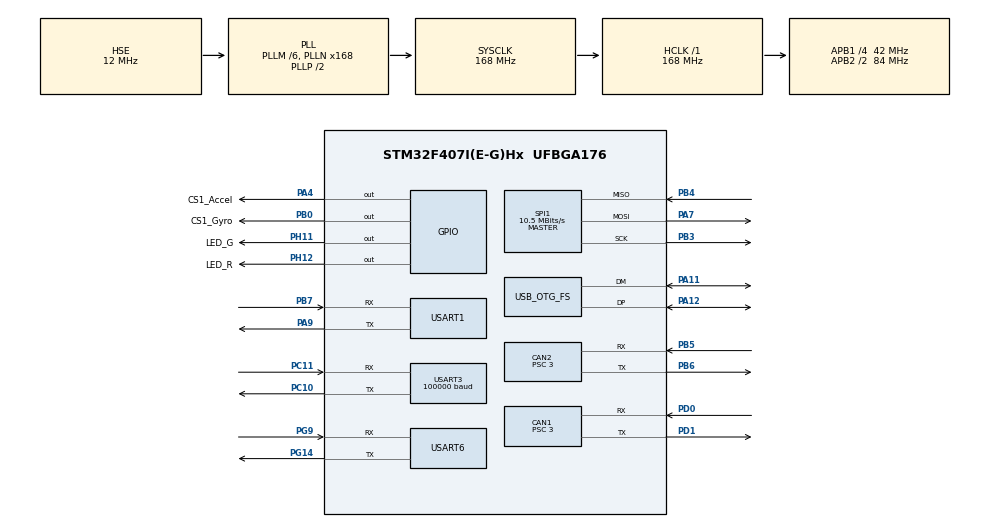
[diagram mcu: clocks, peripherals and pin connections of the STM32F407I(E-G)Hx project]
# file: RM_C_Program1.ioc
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CAN1.ABOM=ENABLE
CAN1.BS1=CAN_BS1_10TQ
CAN1.BS2=CAN_BS2_3TQ
CAN1.CalculateBaudRate=1000000
CAN1.CalculateTimeBit=1000
CAN1.CalculateTimeQuantum=71.42857142857143
CAN1.Prescaler=3
CAN2.ABOM=ENABLE
CAN2.BS1=CAN_BS1_10TQ
CAN2.BS2=CAN_BS2_3TQ
CAN2.CalculateBaudRate=1000000
CAN2.CalculateTimeBit=1000
CAN2.CalculateTimeQuantum=71.42857142857143
CAN2.Prescaler=3
Dma.Request0=USART1_RX
Dma.Request1=USART1_TX
Dma.Request2=USART6_RX
Dma.Request3=USART3_RX
Dma.USART1_RX.0.Direction=DMA_PERIPH_TO_MEMORY
Dma.USART1_RX.0.FIFOMode=DMA_FIFOMODE_DISABLE
Dma.USART1_RX.0.Instance=DMA2_Stream2
Dma.USART1_RX.0.MemDataAlignment=DMA_MDATAALIGN_BYTE
Dma.USART1_RX.0.MemInc=DMA_MINC_ENABLE
Dma.USART1_RX.0.Mode=DMA_NORMAL
Dma.USART1_RX.0.PeriphDataAlignment=DMA_PDATAALIGN_BYTE
Dma.USART1_RX.0.PeriphInc=DMA_PINC_DISABLE
Dma.USART1_RX.0.Priority=DMA_PRIORITY_HIGH
Dma.USART1_TX.1.Direction=DMA_MEMORY_TO_PERIPH
Dma.USART1_TX.1.FIFOMode=DMA_FIFOMODE_DISABLE
Dma.USART1_TX.1.Instance=DMA2_Stream7
Dma.USART1_TX.1.MemDataAlignment=DMA_MDATAALIGN_BYTE
Dma.USART1_TX.1.MemInc=DMA_MINC_ENABLE
Dma.USART1_TX.1.Mode=DMA_NORMAL
Dma.USART1_TX.1.PeriphDataAlignment=DMA_PDATAALIGN_BYTE
Dma.USART1_TX.1.PeriphInc=DMA_PINC_DISABLE
Dma.USART1_TX.1.Priority=DMA_PRIORITY_HIGH
Dma.USART3_RX.3.Direction=DMA_PERIPH_TO_MEMORY
Dma.USART3_RX.3.FIFOMode=DMA_FIFOMODE_ENABLE
Dma.USART3_RX.3.FIFOThreshold=DMA_FIFO_THRESHOLD_FULL
Dma.USART3_RX.3.Instance=DMA1_Stream1
Dma.USART3_RX.3.MemBurst=DMA_MBURST_SINGLE
Dma.USART3_RX.3.MemDataAlignment=DMA_MDATAALIGN_BYTE
Dma.USART3_RX.3.MemInc=DMA_MINC_ENABLE
Dma.USART3_RX.3.Mode=DMA_NORMAL
Dma.USART3_RX.3.PeriphBurst=DMA_PBURST_SINGLE
Dma.USART3_RX.3.PeriphDataAlignment=DMA_PDATAALIGN_BYTE
Dma.USART3_RX.3.PeriphInc=DMA_PINC_DISABLE
Dma.USART3_RX.3.Priority=DMA_PRIORITY_HIGH
Dma.USART6_RX.2.Direction=DMA_PERIPH_TO_MEMORY
Dma.USART6_RX.2.FIFOMode=DMA_FIFOMODE_DISABLE
Dma.USART6_RX.2.Instance=DMA2_Stream1
Dma.USART6_RX.2.MemDataAlignment=DMA_MDATAALIGN_BYTE
Dma.USART6_RX.2.MemInc=DMA_MINC_ENABLE
Dma.USART6_RX.2.Mode=DMA_NORMAL
Dma.USART6_RX.2.PeriphDataAlignment=DMA_PDATAALIGN_BYTE
Dma.USART6_RX.2.PeriphInc=DMA_PINC_DISABLE
Dma.USART6_RX.2.Priority=DMA_PRIORITY_LOW
FREERTOS.Tasks01=defaultTask,24,128,StartDefaultTask,Default,NULL,Dynamic,NULL,NULL;IMU_Read,24,128,Start_IMU_Read,Default,NULL,Dynamic,NULL,NULL;CAN_SendMessage,8,128,Start_CAN_SendMessage,Default,NULL,Dynamic,NULL,NULL;Remote_RecieveM,8,128,Start_Remote_RecieveMessage,Default,NULL,Dynamic,NULL,NULL;AMMO_SendMessag,8,128,Start_AMMO_SendMessage,Default,NULL,Dynamic,NULL,NULL
FREERTOS.configUSE_NEWLIB_REENTRANT=1
Mcu.Family=STM32F4
Mcu.Name=STM32F407I(E-G)Hx
Mcu.Package=UFBGA176
NVIC.CAN1_RX0_IRQn=true\:5\:0\:true\:false\:true\:true\:true\:true\:true
NVIC.CAN2_RX0_IRQn=true\:5\:0\:true\:false\:true\:true\:true\:true\:true
NVIC.DMA1_Stream1_IRQn=true\:5\:0\:false\:false\:true\:true\:false\:true\:true
NVIC.DMA2_Stream1_IRQn=true\:5\:0\:false\:false\:true\:true\:false\:true\:true
NVIC.DMA2_Stream2_IRQn=true\:5\:0\:false\:false\:true\:true\:false\:true\:true
NVIC.DMA2_Stream7_IRQn=true\:5\:0\:false\:false\:true\:true\:false\:true\:true
NVIC.OTG_FS_IRQn=true\:5\:0\:false\:false\:true\:true\:true\:true\:true
NVIC.PriorityGroup=NVIC_PRIORITYGROUP_4
NVIC.SPI1_IRQn=true\:5\:0\:false\:false\:true\:true\:true\:true\:true
NVIC.TIM1_BRK_TIM9_IRQn=true\:5\:0\:false\:false\:true\:true\:true\:true\:true
NVIC.TIM5_IRQn=true\:10\:0\:true\:false\:true\:true\:true\:true\:true
NVIC.TIM6_DAC_IRQn=true\:15\:0\:false\:false\:true\:false\:false\:true\:true
NVIC.TIM8_BRK_TIM12_IRQn=true\:10\:0\:true\:false\:true\:true\:true\:true\:true
NVIC.TimeBase=TIM6_DAC_IRQn
NVIC.TimeBaseIP=TIM6
NVIC.USART1_IRQn=true\:10\:0\:true\:false\:true\:true\:true\:true\:true
NVIC.USART3_IRQn=true\:5\:0\:false\:false\:true\:true\:true\:true\:true
NVIC.USART6_IRQn=true\:5\:0\:false\:false\:true\:true\:true\:true\:true
PA11.Mode=Device_Only
PA11.Signal=USB_OTG_FS_DM
PA12.Mode=Device_Only
PA12.Signal=USB_OTG_FS_DP
PA13.Mode=Serial_Wire
PA13.Signal=SYS_JTMS-SWDIO
PA14.Mode=Serial_Wire
PA14.Signal=SYS_JTCK-SWCLK
PA4.GPIO_Label=CS1_Accel
PA4.GPIO_PuPd=GPIO_PULLUP
PA4.GPIO_Speed=GPIO_SPEED_FREQ_VERY_HIGH
PA4.PinState=GPIO_PIN_SET
PA4.Signal=GPIO_Output
PA7.Mode=Full_Duplex_Master
PA7.Signal=SPI1_MOSI
PA9.Mode=Asynchronous
PA9.Signal=USART1_TX
PB0.GPIO_Label=CS1_Gyro
PB0.GPIO_PuPd=GPIO_PULLUP
PB0.GPIO_Speed=GPIO_SPEED_FREQ_VERY_HIGH
PB0.Signal=GPIO_Output
PB3.Mode=Full_Duplex_Master
PB3.Signal=SPI1_SCK
PB4.Mode=Full_Duplex_Master
PB4.Signal=SPI1_MISO
PB5.Mode=CAN_Activate
PB5.Signal=CAN2_RX
PB6.Mode=CAN_Activate
PB6.Signal=CAN2_TX
PB7.Mode=Asynchronous
PB7.Signal=USART1_RX
PC10.Mode=Asynchronous
PC10.Signal=USART3_TX
PC11.Mode=Asynchronous
PC11.Signal=USART3_RX
PD0.Mode=CAN_Activate
PD0.Signal=CAN1_RX
PD1.Mode=CAN_Activate
PD1.Signal=CAN1_TX
PG14.Mode=Asynchronous
PG14.Signal=USART6_TX
PG9.Mode=Asynchronous
PG9.Signal=USART6_RX
PH0-OSC_IN.Mode=HSE-External-Oscillator
PH0-OSC_IN.Signal=RCC_OSC_IN
PH1-OSC_OUT.Mode=HSE-External-Oscillator
PH1-OSC_OUT.Signal=RCC_OSC_OUT
PH11.GPIO_Label=LED_G
PH11.GPIO_PuPd=GPIO_PULLUP
PH11.GPIO_Speed=GPIO_SPEED_FREQ_HIGH
PH11.Signal=GPIO_Output
PH12.GPIO_Label=LED_R
PH12.GPIO_PuPd=GPIO_PULLUP
PH12.GPIO_Speed=GPIO_SPEED_FREQ_HIGH
PH12.PinState=GPIO_PIN_SET
PH12.Signal=GPIO_Output
ProjectManager.HeapSize=0x200
ProjectManager.StackSize=0x400
ProjectManager.TargetToolchain=STM32CubeIDE
RCC.48MHZClocksFreq_Value=48000000
RCC.AHBFreq_Value=168000000
RCC.APB1CLKDivider=RCC_HCLK_DIV4
RCC.APB1Freq_Value=42000000
RCC.APB1TimFreq_Value=84000000
RCC.APB2CLKDivider=RCC_HCLK_DIV2
RCC.APB2Freq_Value=84000000
RCC.APB2TimFreq_Value=168000000
RCC.CortexFreq_Value=168000000
RCC.HCLKFreq_Value=168000000
RCC.HSE_VALUE=12000000
RCC.HSI_VALUE=16000000
RCC.LSE_VALUE=32768
RCC.PLLM=6
RCC.PLLN=168
RCC.PLLQ=7
RCC.SYSCLKFreq_VALUE=168000000
RCC.SYSCLKSource=RCC_SYSCLKSOURCE_PLLCLK
RCC.VCOOutputFreq_Value=336000000
SPI1.BaudRatePrescaler=SPI_BAUDRATEPRESCALER_8
SPI1.CLKPhase=SPI_PHASE_2EDGE
SPI1.CLKPolarity=SPI_POLARITY_HIGH
SPI1.CalculateBaudRate=10.5 MBits/s
SPI1.Direction=SPI_DIRECTION_2LINES
SPI1.Mode=SPI_MODE_MASTER
SPI1.VirtualType=VM_MASTER
TIM12.Period=999
TIM12.Prescaler=209
TIM5.Period=999
TIM5.Prescaler=41
TIM9.Period=999
TIM9.Prescaler=99
USART1.VirtualMode=VM_ASYNC
USART3.BaudRate=100000
USART3.Parity=PARITY_EVEN
USART3.VirtualMode=VM_ASYNC
USART3.WordLength=WORDLENGTH_9B
USART6.VirtualMode=VM_ASYNC
USB_DEVICE.CLASS_NAME_FS=CDC
USB_DEVICE.VirtualMode-CDC_FS=Cdc
USB_DEVICE.VirtualModeFS=Cdc_FS
USB_OTG_FS.VirtualMode=Device_Only
VP_FREERTOS_VS_CMSIS_V2.Mode=CMSIS_V2
VP_SYS_VS_tim6.Mode=TIM6
VP_TIM12_VS_ClockSourceINT.Mode=Internal
VP_TIM5_VS_ClockSourceINT.Mode=Internal
VP_TIM9_VS_ClockSourceINT.Mode=Internal
VP_USB_DEVICE_VS_USB_DEVICE_CDC_FS.Mode=CDC_FS
board=custom

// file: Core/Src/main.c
/* USER CODE BEGIN Header */
/**
  ******************************************************************************
  * @file           : main.c
  * @brief          : Main program body
  ******************************************************************************
  * @attention
  *
  * Copyright (c) 2024 STMicroelectronics.
  * All rights reserved.
  *
  * This software is licensed under terms that can be found in the LICENSE file
  * in the root directory of this software component.
  * If no LICENSE file comes with this software, it is provided AS-IS.
  *
  ******************************************************************************
  */
/* USER CODE END Header */
#include "main.h"
#include "cmsis_os.h"
#include "can.h"
#include "dma.h"
#include "spi.h"
#include "tim.h"
#include "usart.h"
#include "usb_device.h"
#include "gpio.h"

/* USER CODE BEGIN Includes */
#include "retarget.h"
#include "motor.h"
#include "pid.h"
#include "stdio.h"
#include "imu.h"
#include "math.h"
#include "Chassis.h"
#include "Gimbal.h"
#include "MathData.h"
#include "Shooter.h"
#include "remote.h"
#include "WatchDog.h"
/* USER CODE END Includes */

void SystemClock_Config(void);
void MX_FREERTOS_Init(void);

int main(void)
{

  /* MCU Configuration--------------------------------------------------------*/

  /* Reset of all peripherals, Initializes the Flash interface and the Systick. */
  HAL_Init();

  /* Configure the system clock */
  SystemClock_Config();

  /* Initialize all configured peripherals */
  MX_GPIO_Init();
  MX_DMA_Init();
  MX_CAN1_Init();
  MX_CAN2_Init();
  MX_SPI1_Init();
  MX_TIM5_Init();
  MX_TIM9_Init();
  MX_TIM12_Init();
  MX_USART1_UART_Init();
  MX_USART3_UART_Init();
  MX_USART6_UART_Init();
  /* USER CODE BEGIN 2 */
  RetargetInit(&huart1);
  HAL_UARTEx_ReceiveToIdle_DMA(&huart3, Remote_RecieveDate, sizeof(Remote_RecieveDate));
  Gimbal_Init();
  Shooter_Init();
  MX_USART6_UART_Init();
  HAL_TIM_Base_Start_IT(&htim5);
  HAL_TIM_Base_Start_IT(&htim9);
  HAL_TIM_Base_Start_IT(&htim12);
  WatchDogInfo_Init();
  printf("OKK!");
  HAL_GPIO_TogglePin(LED_R_GPIO_Port, LED_R_Pin);
  /* USER CODE END 2 */

  /* Init scheduler */
  osKernelInitialize();

  /* Call init function for freertos objects (in freertos.c) */
  MX_FREERTOS_Init();

  /* Start scheduler */
  osKernelStart();

  /* We should never get here as control is now taken by the scheduler */
  /* Infinite loop */
  /* USER CODE BEGIN WHILE */
  while (1)
  {
    //调PID
    if(0)
    {
      for(uint16_t i=0;i<1800;i++)
      {
        motor_info[YAW].target_angle=8191*sinf(i*PI/3600);
        printf("%d,%d,%d\r\n",motor_info[YAW].target_angle,motor_info[YAW].angle,motor_info[YAW].target_angle-motor_info[YAW].angle);
        HAL_Delay(10);
      }
    }
    if(0)
    {
      for(uint16_t i=0;i<3600;i++)
    	  {
    		  motor_info[YAW].target_speed =100*sinf(2*i*PI/3600);
    		  HAL_Delay(10);
    		  printf("%d,%d,%d\r\n",motor_info[YAW].target_speed,motor_info[YAW].speed,motor_info[YAW].target_speed-motor_info[YAW].speed);
    	  }
    }
    //看imu数据
    if(0)
    {
      printf("%f,%f,%f\r\n",imu_data.angle[0],imu_data.angle[1],imu_data.angle[2]);
    }
    if(0)
    {
      printf("%f,%f,%f,%f,%f,%f\r\n",imu_data.accel[0],imu_data.accel[1],imu_data.accel[2],
    			  	  	  	  	  	  	  imu_data.gyro[0], imu_data.gyro[1], imu_data.gyro[2]);
    }
    /* USER CODE END WHILE */

  }
}

void SystemClock_Config(void)
{
  RCC_OscInitTypeDef RCC_OscInitStruct = {0};
  RCC_ClkInitTypeDef RCC_ClkInitStruct = {0};

  /** Configure the main internal regulator output voltage
  */
  __HAL_RCC_PWR_CLK_ENABLE();
  __HAL_PWR_VOLTAGESCALING_CONFIG(PWR_REGULATOR_VOLTAGE_SCALE1);

  /** Initializes the RCC Oscillators according to the specified parameters
  * in the RCC_OscInitTypeDef structure.
  */
  RCC_OscInitStruct.OscillatorType = RCC_OSCILLATORTYPE_HSE;
  RCC_OscInitStruct.HSEState = RCC_HSE_ON;
  RCC_OscInitStruct.PLL.PLLState = RCC_PLL_ON;
  RCC_OscInitStruct.PLL.PLLSource = RCC_PLLSOURCE_HSE;
  RCC_OscInitStruct.PLL.PLLM = 6;
  RCC_OscInitStruct.PLL.PLLN = 168;
  RCC_OscInitStruct.PLL.PLLP = RCC_PLLP_DIV2;
  RCC_OscInitStruct.PLL.PLLQ = 7;
  if (HAL_RCC_OscConfig(&RCC_OscInitStruct) != HAL_OK)
  {
    Error_Handler();
  }

  /** Initializes the CPU, AHB and APB buses clocks
  */
  RCC_ClkInitStruct.ClockType = RCC_CLOCKTYPE_HCLK|RCC_CLOCKTYPE_SYSCLK
                              |RCC_CLOCKTYPE_PCLK1|RCC_CLOCKTYPE_PCLK2;
  RCC_ClkInitStruct.SYSCLKSource = RCC_SYSCLKSOURCE_PLLCLK;
  RCC_ClkInitStruct.AHBCLKDivider = RCC_SYSCLK_DIV1;
  RCC_ClkInitStruct.APB1CLKDivider = RCC_HCLK_DIV4;
  RCC_ClkInitStruct.APB2CLKDivider = RCC_HCLK_DIV2;

  if (HAL_RCC_ClockConfig(&RCC_ClkInitStruct, FLASH_LATENCY_5) != HAL_OK)
  {
    Error_Handler();
  }
}

void HAL_TIM_PeriodElapsedCallback(TIM_HandleTypeDef *htim)
{
  if (htim->Instance == TIM6) {
    HAL_IncTick();
  }
}

void Error_Handler(void)
{
  __disable_irq();
  while (1)
  {
  }
}

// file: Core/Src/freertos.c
/* USER CODE BEGIN Header */
/**
  ******************************************************************************
  * File Name          : freertos.c
  * Description        : Code for freertos applications
  ******************************************************************************
  * @attention
  *
  * Copyright (c) 2024 STMicroelectronics.
  * All rights reserved.
  *
  * This software is licensed under terms that can be found in the LICENSE file
  * in the root directory of this software component.
  * If no LICENSE file comes with this software, it is provided AS-IS.
  *
  ******************************************************************************
  */
/* USER CODE END Header */

#include "FreeRTOS.h"
#include "task.h"
#include "main.h"
#include "cmsis_os.h"

/* USER CODE BEGIN Includes */
#include "stdio.h"
#include "remote.h"
#include "motor.h"
#include "pid.h"
#include "imu.h"
#include "Chassis.h"
#include "Gimbal.h"
#include "Shooter.h"
#include "WatchDog.h"
#include "MathData.h"
/* USER CODE END Includes */

/* Definitions for defaultTask */
osThreadId_t defaultTaskHandle;
const osThreadAttr_t defaultTask_attributes = {
  .name = "defaultTask",
  .stack_size = 128 * 4,
  .priority = (osPriority_t) osPriorityNormal,
};
/* Definitions for IMU_Read */
osThreadId_t IMU_ReadHandle;
const osThreadAttr_t IMU_Read_attributes = {
  .name = "IMU_Read",
  .stack_size = 128 * 4,
  .priority = (osPriority_t) osPriorityNormal,
};
/* Definitions for CAN_SendMessage */
osThreadId_t CAN_SendMessageHandle;
const osThreadAttr_t CAN_SendMessage_attributes = {
  .name = "CAN_SendMessage",
  .stack_size = 128 * 4,
  .priority = (osPriority_t) osPriorityLow,
};
/* Definitions for Remote_RecieveM */
osThreadId_t Remote_RecieveMHandle;
const osThreadAttr_t Remote_RecieveM_attributes = {
  .name = "Remote_RecieveM",
  .stack_size = 128 * 4,
  .priority = (osPriority_t) osPriorityLow,
};
/* Definitions for AMMO_SendMessag */
osThreadId_t AMMO_SendMessagHandle;
const osThreadAttr_t AMMO_SendMessag_attributes = {
  .name = "AMMO_SendMessag",
  .stack_size = 128 * 4,
  .priority = (osPriority_t) osPriorityLow,
};

void StartDefaultTask(void *argument);
void Start_IMU_Read(void *argument);
void Start_CAN_SendMessage(void *argument);
void Start_Remote_RecieveMessage(void *argument);
void Start_AMMO_SendMessage(void *argument);

extern void MX_USB_DEVICE_Init(void);
void MX_FREERTOS_Init(void); /* (MISRA C 2004 rule 8.1) */

void MX_FREERTOS_Init(void) {

  /* Create the thread(s) */
  /* creation of defaultTask */
  defaultTaskHandle = osThreadNew(StartDefaultTask, NULL, &defaultTask_attributes);

  /* creation of IMU_Read */
  IMU_ReadHandle = osThreadNew(Start_IMU_Read, NULL, &IMU_Read_attributes);

  /* creation of CAN_SendMessage */
  CAN_SendMessageHandle = osThreadNew(Start_CAN_SendMessage, NULL, &CAN_SendMessage_attributes);

  /* creation of Remote_RecieveM */
  Remote_RecieveMHandle = osThreadNew(Start_Remote_RecieveMessage, NULL, &Remote_RecieveM_attributes);

  /* creation of AMMO_SendMessag */
  AMMO_SendMessagHandle = osThreadNew(Start_AMMO_SendMessage, NULL, &AMMO_SendMessag_attributes);

}

void StartDefaultTask(void *argument)
{
  /* init code for USB_DEVICE */
  MX_USB_DEVICE_Init();
  /* USER CODE BEGIN StartDefaultTask */
  /* Infinite loop */
  for(;;)
  {
      if(WatchDog_Detect(&Remote_WatchDog_Info)==0)
          PID_Clear();
      HAL_GPIO_TogglePin(LED_G_GPIO_Port,LED_G_Pin);
    osDelay(500);
  }
  /* USER CODE END StartDefaultTask */
}

void Start_IMU_Read(void *argument)
{
  /* USER CODE BEGIN Start_IMU_Read */
  /* Infinite loop */
  for(;;)
  {
      Get_ImuData(&imu_data);
    osDelay(1);
  }
  /* USER CODE END Start_IMU_Read */
}

void Start_CAN_SendMessage(void *argument)
{
  /* USER CODE BEGIN Start_CAN_SendMessage */
  /* Infinite loop */
  for(;;)
  {
//      Chassis_UpData();
//      Gimbal_UpData();
//      Posi_IncrPID(NULL, &IncrPID_Info[CHASSIS1], &motor_info[CHASSIS1]);
//      Posi_IncrPID(NULL, &IncrPID_Info[CHASSIS2], &motor_info[CHASSIS2]);
//      Posi_IncrPID(NULL, &IncrPID_Info[CHASSIS3], &motor_info[CHASSIS3]);
//      Posi_IncrPID(NULL, &IncrPID_Info[CHASSIS4], &motor_info[CHASSIS4]);
//      Posi_IncrPID(&PosiPID_Info[YAW], &IncrPID_Info[YAW], &motor_info[YAW]);
//      Posi_IncrPID(&PosiPID_Info[PITCH], &IncrPID_Info[PITCH], &motor_info[PITCH]);
//
//      Send_ChasissInfo(IncrPID_Info[CHASSIS1].Output,IncrPID_Info[CHASSIS2].Output, IncrPID_Info[CHASSIS3].Output, IncrPID_Info[CHASSIS4].Output);
//      Send_GimbalConf(PosiPID_Info[YAW].Output, PosiPID_Info[PITCH].Output);

    osDelay(1);
  }
  /* USER CODE END Start_CAN_SendMessage */
}

void Start_Remote_RecieveMessage(void *argument)
{
  /* USER CODE BEGIN Start_Remote_RecieveMessage */

  /* Infinite loop */
  for(;;)
  {
    if( RemoteData.data_size == 18 )
    {
      RemoteData_Unpack();
    }
    osDelay(1);
  }

  /* USER CODE END Start_Remote_RecieveMessage */
}

void Start_AMMO_SendMessage(void *argument)
{
  /* USER CODE BEGIN Start_AMMO_SendMessage */
  uint16_t num=0,LastAngle=0;
  /* Infinite loop */
  for(;;)
  {
////    if(RemoteData.shoot_strategy== REVERSE)
////	{
////		motor_info[FRICT_L].target_speed =	-ReverseSpeed;
////		motor_info[FRICT_R].target_speed =	 ReverseSpeed;
////	}
////	else
////	{
//		motor_info[FRICT_L].target_speed = 	ShooterSpeed;
//		motor_info[FRICT_R].target_speed = 	-ShooterSpeed;
////	}
//    for(uint8_t i=FRICT_L;i<=FRICT_R;i++)
//    {
//        IncrPID(&IncrPID_Info[i], &motor_info[i]);
//    }
//  if(RemoteData.shoot_strategy==SINGLE_SHOOT && num==0)
//    {
//        LastAngle=motor_info[AMMO].angle;
//        motor_info[AMMO].target_speed=8000;
//        num++;
//    }
//    if(RemoteData.shoot_strategy==SINGLE_SHOOT
//            && num<27
//            && (motor_info[AMMO].angle-LastAngle+8192)%8192>2048)
//    {
//        motor_info[AMMO].target_speed=8000;
//        num++;
//    }
//    else if(RemoteData.shoot_strategy==SINGLE_SHOOT && num==27)
//    {
//        motor_info[AMMO].target_speed=0;
//    }
//    else if(RemoteData.shoot_strategy==NO_SHOOT)
//    {
//        motor_info[AMMO].target_speed=0;
//        num=0;
//    }
//    else if(RemoteData.shoot_strategy==MULTI_SHOOT)
//    {
//        motor_info[AMMO].target_speed=8000;
//    }
//    Posi_IncrPID(NULL, &IncrPID_Info[AMMO], &motor_info[AMMO]);
//    Send_AmmoSpeed(IncrPID_Info[FRICT_L].Output,IncrPID_Info[FRICT_R].Output ,IncrPID_Info[AMMO].Output );
    osDelay(10);
  }
  /* USER CODE END Start_AMMO_SendMessage */
}
